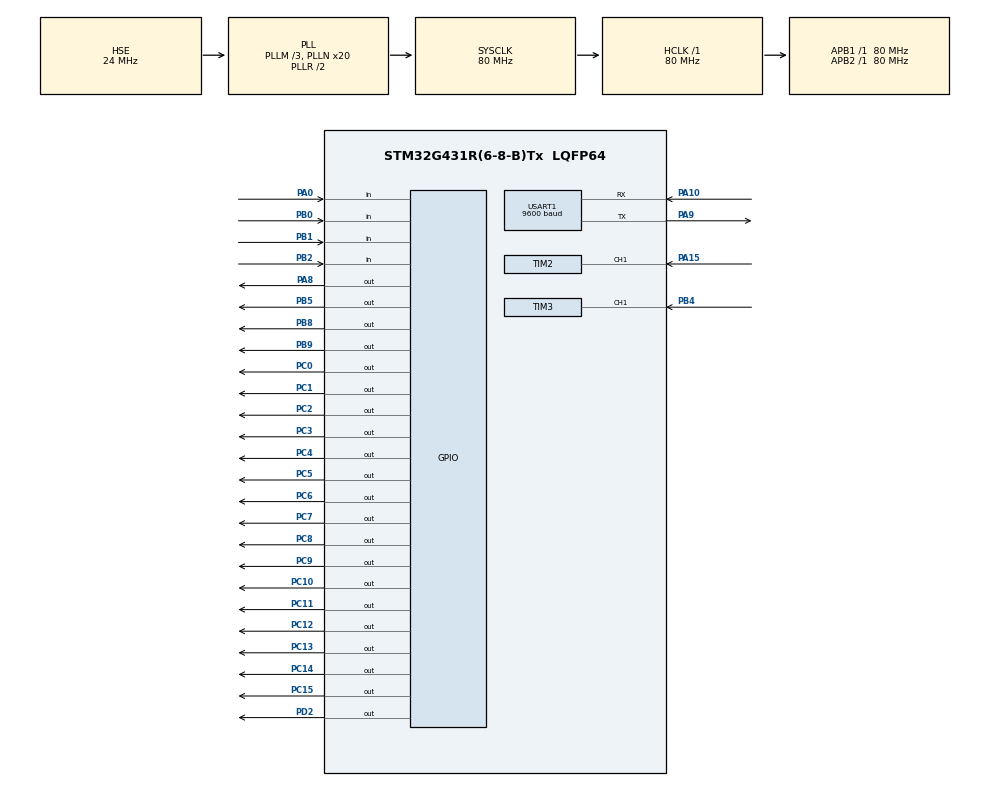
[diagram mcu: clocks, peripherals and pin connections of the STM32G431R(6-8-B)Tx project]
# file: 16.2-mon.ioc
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Dma.Request0=USART1_RX
Dma.Request1=USART1_TX
Dma.USART1_RX.0.Direction=DMA_PERIPH_TO_MEMORY
Dma.USART1_RX.0.EventEnable=DISABLE
Dma.USART1_RX.0.Instance=DMA1_Channel1
Dma.USART1_RX.0.MemDataAlignment=DMA_MDATAALIGN_BYTE
Dma.USART1_RX.0.MemInc=DMA_MINC_ENABLE
Dma.USART1_RX.0.Mode=DMA_NORMAL
Dma.USART1_RX.0.PeriphDataAlignment=DMA_PDATAALIGN_BYTE
Dma.USART1_RX.0.PeriphInc=DMA_PINC_DISABLE
Dma.USART1_RX.0.Polarity=HAL_DMAMUX_REQ_GEN_RISING
Dma.USART1_RX.0.Priority=DMA_PRIORITY_LOW
Dma.USART1_RX.0.RequestNumber=1
Dma.USART1_RX.0.SignalID=NONE
Dma.USART1_RX.0.SyncEnable=DISABLE
Dma.USART1_RX.0.SyncPolarity=HAL_DMAMUX_SYNC_NO_EVENT
Dma.USART1_RX.0.SyncRequestNumber=1
Dma.USART1_RX.0.SyncSignalID=NONE
Dma.USART1_TX.1.Direction=DMA_MEMORY_TO_PERIPH
Dma.USART1_TX.1.EventEnable=DISABLE
Dma.USART1_TX.1.Instance=DMA1_Channel2
Dma.USART1_TX.1.MemDataAlignment=DMA_MDATAALIGN_BYTE
Dma.USART1_TX.1.MemInc=DMA_MINC_ENABLE
Dma.USART1_TX.1.Mode=DMA_NORMAL
Dma.USART1_TX.1.PeriphDataAlignment=DMA_PDATAALIGN_BYTE
Dma.USART1_TX.1.PeriphInc=DMA_PINC_DISABLE
Dma.USART1_TX.1.Polarity=HAL_DMAMUX_REQ_GEN_RISING
Dma.USART1_TX.1.Priority=DMA_PRIORITY_LOW
Dma.USART1_TX.1.RequestNumber=1
Dma.USART1_TX.1.SignalID=NONE
Dma.USART1_TX.1.SyncEnable=DISABLE
Dma.USART1_TX.1.SyncPolarity=HAL_DMAMUX_SYNC_NO_EVENT
Dma.USART1_TX.1.SyncRequestNumber=1
Dma.USART1_TX.1.SyncSignalID=NONE
Mcu.Family=STM32G4
Mcu.Name=STM32G431R(6-8-B)Tx
Mcu.Package=LQFP64
NVIC.DMA1_Channel1_IRQn=true\:0\:0\:false\:false\:true\:false\:true\:true
NVIC.DMA1_Channel2_IRQn=true\:0\:0\:false\:false\:true\:false\:true\:true
NVIC.PriorityGroup=NVIC_PRIORITYGROUP_4
NVIC.TIM2_IRQn=true\:0\:0\:false\:false\:true\:true\:true\:true
NVIC.TIM3_IRQn=true\:0\:0\:false\:false\:true\:true\:true\:true
NVIC.USART1_IRQn=true\:0\:0\:false\:false\:true\:true\:true\:true
PA0.GPIO_PuPd=GPIO_PULLUP
PA0.Signal=GPIO_Input
PA10.Mode=Asynchronous
PA10.Signal=USART1_RX
PA13.Mode=Serial_Wire
PA13.Signal=SYS_JTMS-SWDIO
PA14.Mode=Serial_Wire
PA14.Signal=SYS_JTCK-SWCLK
PA15.Signal=S_TIM2_CH1
PA8.Signal=GPIO_Output
PA9.Mode=Asynchronous
PA9.Signal=USART1_TX
PB0.GPIO_PuPd=GPIO_PULLUP
PB0.Signal=GPIO_Input
PB1.GPIO_PuPd=GPIO_PULLUP
PB1.Signal=GPIO_Input
PB2.GPIO_PuPd=GPIO_PULLUP
PB2.Signal=GPIO_Input
PB4.Signal=S_TIM3_CH1
PB5.Signal=GPIO_Output
PB8-BOOT0.Signal=GPIO_Output
PB9.Signal=GPIO_Output
PC0.Signal=GPIO_Output
PC1.Signal=GPIO_Output
PC10.Signal=GPIO_Output
PC11.Signal=GPIO_Output
PC12.Signal=GPIO_Output
PC13.Signal=GPIO_Output
PC14-OSC32_IN.Signal=GPIO_Output
PC15-OSC32_OUT.Signal=GPIO_Output
PC2.Signal=GPIO_Output
PC3.Signal=GPIO_Output
PC4.Signal=GPIO_Output
PC5.Signal=GPIO_Output
PC6.Signal=GPIO_Output
PC7.Signal=GPIO_Output
PC8.Signal=GPIO_Output
PC9.Signal=GPIO_Output
PD2.Signal=GPIO_Output
PF0-OSC_IN.Mode=HSE-External-Oscillator
PF0-OSC_IN.Signal=RCC_OSC_IN
PF1-OSC_OUT.Mode=HSE-External-Oscillator
PF1-OSC_OUT.Signal=RCC_OSC_OUT
ProjectManager.HeapSize=0x200
ProjectManager.StackSize=0x400
ProjectManager.TargetToolchain=MDK-ARM V5.32
RCC.ADC12Freq_Value=80000000
RCC.AHBFreq_Value=80000000
RCC.APB1Freq_Value=80000000
RCC.APB1TimFreq_Value=80000000
RCC.APB2Freq_Value=80000000
RCC.APB2TimFreq_Value=80000000
RCC.CortexFreq_Value=80000000
RCC.EXTERNAL_CLOCK_VALUE=12288000
RCC.HCLKFreq_Value=80000000
RCC.HSE_VALUE=24000000
RCC.HSI48_VALUE=48000000
RCC.HSI_VALUE=16000000
RCC.LSE_VALUE=32768
RCC.PLLM=RCC_PLLM_DIV3
RCC.PLLN=20
RCC.PLLSourceVirtual=RCC_PLLSOURCE_HSE
RCC.SYSCLKFreq_VALUE=80000000
RCC.SYSCLKSource=RCC_SYSCLKSOURCE_PLLCLK
RCC.USBFreq_Value=80000000
RCC.VCOOutputFreq_Value=160000000
SH.S_TIM2_CH1.0=TIM2_CH1,Input_Capture1_from_TI1
SH.S_TIM3_CH1.0=TIM3_CH1,Input_Capture1_from_TI1
TIM2.Channel-Input_Capture1_from_TI1=TIM_CHANNEL_1
TIM2.Prescaler=79
TIM3.Channel-Input_Capture1_from_TI1=TIM_CHANNEL_1
TIM3.Prescaler=79
USART1.BaudRate=9600
USART1.VirtualMode-Asynchronous=VM_ASYNC
VP_SYS_VS_DBSignals.Mode=DisableDeadBatterySignals
board=custom

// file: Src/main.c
/* USER CODE BEGIN Header */
/**
  ******************************************************************************
  * @file           : main.c
  * @brief          : Main program body
  ******************************************************************************
  * @attention
  *
  * Copyright (c) 2025 STMicroelectronics.
  * All rights reserved.
  *
  * This software is licensed under terms that can be found in the LICENSE file
  * in the root directory of this software component.
  * If no LICENSE file comes with this software, it is provided AS-IS.
  *
  ******************************************************************************
  */
/* USER CODE END Header */
#include "main.h"
#include "dma.h"
#include "tim.h"
#include "usart.h"
#include "gpio.h"

/* USER CODE BEGIN Includes */
#include "lcd.h"
#include "stdio.h"
#include "string.h"

/* USER CODE END Includes */

/* USER CODE BEGIN PV */
uint8_t RX_BUFF[20];   //串口数据缓冲区
char buf[80];     //缓冲区
char buf1[80];     //缓冲区
char buf3[80];     //缓冲区
uint8_t UAR_flag;  //串口标志位
uint8_t state;    //系统状态
uint8_t mode;     //控制模式
uint8_t start_stop_F1;   //控制F1的采集和停止
uint8_t start_stop_F2;   //控制F2的采集和停止
uint16_t PF=1000;     //频率参数变量
uint32_t compare1;    //捕获得到F1的计数值
uint32_t compare2;    //捕获得到F2的计数值
uint32_t frq1;        //F1的频率
uint32_t frq2;       //F2的频率

/* USER CODE END PV */

void SystemClock_Config(void);

/* USER CODE BEGIN 0 */
//led控制函数
void LED_dispaly(uint8_t led)
{
   HAL_GPIO_WritePin(GPIOD,GPIO_PIN_2,1);
	 HAL_GPIO_WritePin(GPIOC,GPIO_PIN_8|GPIO_PIN_9|GPIO_PIN_10|GPIO_PIN_11|GPIO_PIN_12
	|GPIO_PIN_13|GPIO_PIN_14|GPIO_PIN_15,1);
	HAL_GPIO_WritePin(GPIOC,led<<8,0);
	HAL_GPIO_WritePin(GPIOD,GPIO_PIN_2,0);
}
//按键扫描函数
uint8_t  KEY_scan()
{
  static uint8_t KEY=1;
	if(KEY==1&&(HAL_GPIO_ReadPin(GPIOB,GPIO_PIN_0)==0||HAL_GPIO_ReadPin(GPIOB,GPIO_PIN_1)==0||HAL_GPIO_ReadPin(GPIOB,GPIO_PIN_2)==0||HAL_GPIO_ReadPin(GPIOA,GPIO_PIN_0)==0))
	{
		KEY=0;
		HAL_Delay(10);    //消抖
	  if(HAL_GPIO_ReadPin(GPIOB,GPIO_PIN_0)==0)
		{
			return 1;
		}
		if(HAL_GPIO_ReadPin(GPIOB,GPIO_PIN_1)==0)
		{
			return 2;
		}
		if(HAL_GPIO_ReadPin(GPIOB,GPIO_PIN_2)==0)
		{
			return 3;
		}
		if(HAL_GPIO_ReadPin(GPIOA,GPIO_PIN_0)==0)
		{
			return 4;
		}
	}
	if(KEY==0&&HAL_GPIO_ReadPin(GPIOB,GPIO_PIN_0)==1&&HAL_GPIO_ReadPin(GPIOB,GPIO_PIN_1)==1&&HAL_GPIO_ReadPin(GPIOB,GPIO_PIN_2)==1&&HAL_GPIO_ReadPin(GPIOA,GPIO_PIN_0)==1)
	{
	  KEY=1;
	}
   return 0;
}
//重定义函数
int fputc(int ch,FILE *f)
{
  HAL_UART_Transmit(&huart1,(uint8_t*)&ch,1,50);
	return ch;
}
//LCD显示函数
void LCD_show()
{
  switch(state)
	{
		case 0:
			if(mode==0)
			{
			LCD_DisplayStringLine(Line1,(uint8_t*)"        DATA           ");
		  sprintf(buf3,"     F1=%d ",frq1);
		  LCD_DisplayStringLine(Line3,(uint8_t*)buf3);
    	sprintf(buf1,"     F2=%d        ",frq2);
		  LCD_DisplayStringLine(Line4,(uint8_t*)buf1);
		  sprintf(buf,"     MODE=KEY");
		  LCD_DisplayStringLine(Line5,(uint8_t*)buf);
			}
			else
			{
			LCD_DisplayStringLine(Line1,(uint8_t*)"        DATA           ");
		  sprintf(buf3,"     F1=%d        ",frq1);
		  LCD_DisplayStringLine(Line3,(uint8_t*)buf3);
    	sprintf(buf,"     F2=%d        ",frq2);
		  LCD_DisplayStringLine(Line4,(uint8_t*)buf);
		  sprintf(buf,"     MODE=USART");
		  LCD_DisplayStringLine(Line5,(uint8_t*)buf);
			}
			break;
		case 1:
			LCD_DisplayStringLine(Line1,(uint8_t*)"        PARA           ");
		  sprintf(buf,"      PF=%d  ",PF);
		  LCD_DisplayStringLine(Line3,(uint8_t*)"                      ");
		  LCD_DisplayStringLine(Line4,(uint8_t*)"                      ");
		  LCD_DisplayStringLine(Line5,(uint8_t*)"                      ");
			break;
		default:
			break;
	}
}
//按键处理函数
void KEY_deal_pro(uint8_t key)
{
  switch(key)
	{
		case 1:  //按键1按下的话，系统切换
		state=!state;
			break;
		case 2:      //按键2按下的话，模式切换
		mode=!mode;
			break;
		case 3:
			if(state==0&&mode==0)
			{
			   start_stop_F1=!start_stop_F1;
				  if(start_stop_F1==0)
					{
					                  //停止采集

					}
					else
					{

					               //启动采集

					}
			}
			if(state==1)
			{
			   PF+=1000;
			}
			if(PF>10001)
				{
				  PF=1000;
				}
			break;
		case 4:
			if(state==0&&mode==0)
			{
			   start_stop_F2=!start_stop_F2;
				  if(start_stop_F2==0)
					{
					                  //停止采集

					}
					else
					{

					               //启动采集

					}
			}
			if(state==1)
			{
			   PF-=1000;
			}
			if(PF<1001)
				{
				  PF=10000;
				}
			break;
		default:
			break;
	}
}
//led处理函数

/* USER CODE END 0 */

int main(void)
{

  /* MCU Configuration--------------------------------------------------------*/

  /* Reset of all peripherals, Initializes the Flash interface and the Systick. */
  HAL_Init();

  /* Configure the system clock */
  SystemClock_Config();

  /* Initialize all configured peripherals */
  MX_GPIO_Init();
  MX_DMA_Init();
  MX_USART1_UART_Init();
  MX_TIM3_Init();
  MX_TIM2_Init();
  /* USER CODE BEGIN 2 */
	LCD_Init();
	LCD_Clear(Black);
	LCD_SetBackColor(Black);
	LCD_SetTextColor(White);
  HAL_TIM_IC_Start_IT(&htim2,TIM_CHANNEL_1);
  HAL_TIM_IC_Start_IT(&htim3,TIM_CHANNEL_1);
	HAL_UARTEx_ReceiveToIdle_DMA(&huart1,RX_BUFF,20);
  /* USER CODE END 2 */

  /* Infinite loop */
  /* USER CODE BEGIN WHILE */
  while (1)
  {
		uint8_t key;
//		if(UAR_flag==1)
//		{
//		UAR_flag=0;
//		sprintf((char*)buf,"receive:%s\r\n",RX_BUFF);
//		HAL_UART_Transmit_DMA(&huart1,buf,20);
//		}
		LCD_show();
		key=KEY_scan();
		KEY_deal_pro(key);

    /* USER CODE END WHILE */

  }
}

void SystemClock_Config(void)
{
  RCC_OscInitTypeDef RCC_OscInitStruct = {0};
  RCC_ClkInitTypeDef RCC_ClkInitStruct = {0};

  /** Configure the main internal regulator output voltage
  */
  HAL_PWREx_ControlVoltageScaling(PWR_REGULATOR_VOLTAGE_SCALE1);

  /** Initializes the RCC Oscillators according to the specified parameters
  * in the RCC_OscInitTypeDef structure.
  */
  RCC_OscInitStruct.OscillatorType = RCC_OSCILLATORTYPE_HSE;
  RCC_OscInitStruct.HSEState = RCC_HSE_ON;
  RCC_OscInitStruct.PLL.PLLState = RCC_PLL_ON;
  RCC_OscInitStruct.PLL.PLLSource = RCC_PLLSOURCE_HSE;
  RCC_OscInitStruct.PLL.PLLM = RCC_PLLM_DIV3;
  RCC_OscInitStruct.PLL.PLLN = 20;
  RCC_OscInitStruct.PLL.PLLP = RCC_PLLP_DIV2;
  RCC_OscInitStruct.PLL.PLLQ = RCC_PLLQ_DIV2;
  RCC_OscInitStruct.PLL.PLLR = RCC_PLLR_DIV2;
  if (HAL_RCC_OscConfig(&RCC_OscInitStruct) != HAL_OK)
  {
    Error_Handler();
  }

  /** Initializes the CPU, AHB and APB buses clocks
  */
  RCC_ClkInitStruct.ClockType = RCC_CLOCKTYPE_HCLK|RCC_CLOCKTYPE_SYSCLK
                              |RCC_CLOCKTYPE_PCLK1|RCC_CLOCKTYPE_PCLK2;
  RCC_ClkInitStruct.SYSCLKSource = RCC_SYSCLKSOURCE_PLLCLK;
  RCC_ClkInitStruct.AHBCLKDivider = RCC_SYSCLK_DIV1;
  RCC_ClkInitStruct.APB1CLKDivider = RCC_HCLK_DIV1;
  RCC_ClkInitStruct.APB2CLKDivider = RCC_HCLK_DIV1;

  if (HAL_RCC_ClockConfig(&RCC_ClkInitStruct, FLASH_LATENCY_2) != HAL_OK)
  {
    Error_Handler();
  }
}

/* USER CODE BEGIN 4 */
//串口回调函数
void HAL_UARTEx_RxEventCallback(UART_HandleTypeDef *huart, uint16_t Size)
{
	UAR_flag=1;
	HAL_UARTEx_ReceiveToIdle_DMA(&huart1,RX_BUFF,20);
}
//捕获回调函数
void HAL_TIM_IC_CaptureCallback(TIM_HandleTypeDef *htim)
{
	if(htim->Instance==TIM2)
	{
	  compare1=HAL_TIM_ReadCapturedValue(&htim2,TIM_CHANNEL_1)+1;
	  __HAL_TIM_SetCounter(&htim2,0);
		frq1=(1000000*1.0)/(compare1);
		HAL_TIM_IC_Start_IT(&htim2,TIM_CHANNEL_1);
	}
	if(htim->Instance==TIM3)
	{
	  compare2=HAL_TIM_ReadCapturedValue(&htim3,TIM_CHANNEL_1)+1;
	  __HAL_TIM_SetCounter(&htim3,0);
		frq2=(1000000*1.0)/(compare2);
		HAL_TIM_IC_Start_IT(&htim3,TIM_CHANNEL_1);
	}
}
/* USER CODE END 4 */

void Error_Handler(void)
{
  __disable_irq();
  while (1)
  {
  }
}
